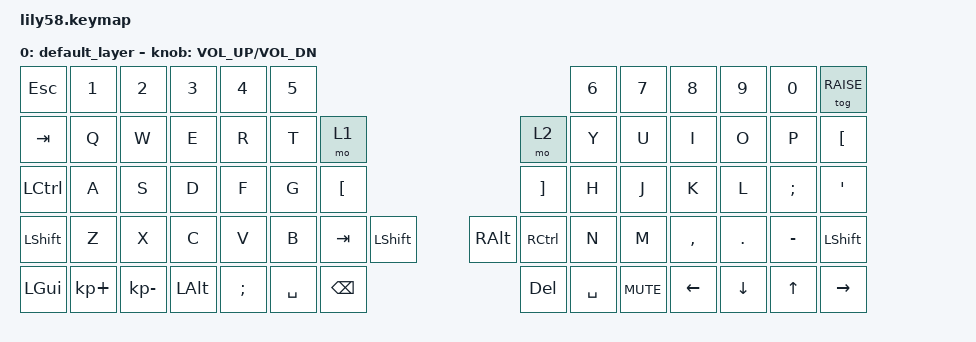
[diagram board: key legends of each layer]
/*
 * Copyright (c) 2020 The ZMK Contributors
 *
 * SPDX-License-Identifier: MIT
 */

#include <behaviors.dtsi>
#include <dt-bindings/zmk/keys.h>
#include <dt-bindings/zmk/bt.h>
#include <dt-bindings/zmk/ext_power.h> 

#define DEFAULT 0
#define NAVI    1
#define RAISE   2
{
//row 1: 7
//row 2: 7
//row 3:7
//row 4: 7
//row 5: 7


	keymap {
		compatible = "zmk,keymap";

		default_layer {
// ----------------------------------------------------------------------------------------------------------------------------------
// |  ESC  |  1  |  2  |  3   |  4   |  5   | 		                	          |  6   |  7    |  8    |  9   |   0   | TOG 2 |
// |  TAB  |  Q  |  W  |  E   |  R   |  T   | MO1 |          			  | MO2   |  Y   |  U    |  I    |  O   |   P   |   "Å"   |
// |  CTRL |  A  |  S  |  D   |  F   |  G   |  "["  |                	  |  "]"  |  H   |  J    |  K    |  L   |   "Æ"   |   "Ø"   |
// | SHIFT |  Z  |  X  |  C   |  V   |  B   | TAP | SHIFT |      		| ALT | CTRL  |  N   |  M    |  ","    |  .   |   -   | SHIFT |
// | GUI   | "+"  | "-"   | ALT  | | ";"  |      | SPACE | BSPC  |	    | DEL | SPACE | |MUTE|   	 |  LEFT | DOWN |  UP   | RIGHT |									
			bindings = <
&kp ESC   &kp N1 &kp N2 &kp N3   &kp N4   &kp N5               		   			  		   	   &kp N6 &kp N7   &kp N8    &kp N9  &kp N0    &tog RAISE
&kp TAB   &kp Q  &kp W  &kp E    &kp R    &kp T  &mo 1      				   		 &mo 2     &kp Y  &kp U    &kp I     &kp O   &kp P     &kp LBKT
&kp LCTRL &kp A  &kp S  &kp D    &kp F    &kp G  &kp LBKT      				   		 &kp RBKT  &kp H  &kp J    &kp K     &kp L   &kp SEMI  &kp SQT
&kp LSHFT &kp Z  &kp X  &kp C    &kp V    &kp B  &kp TAB &kp LSHFT  		&kp RALT &kp RCTRL  &kp N  &kp M    &kp COMMA &kp DOT &kp MINUS &kp LSHFT
&kp LGUI  &kp KP_PLUS &kp KP_MINUS  &kp LALT &kp SEMI &kp SPACE  &kp BSPC		&kp DEL	 &kp SPACE	&kp K_MUTE		&kp LEFT  &kp DOWN  &kp UP &kp RIGHT
			>;

			sensor-bindings = <&inc_dec_kp C_VOL_UP C_VOL_DN>;
		};

		lower_layer {
// ----------------------------------------------------------------------------------------------------------------------------------	
// | BTCLR | BT1 | BT2 | BT3  | BT4  |  BT5 | 		                	           |      |       |       |      |       |       |
// |   F1  | F2  | F3  | F4   | F5   |  F6  |     |          			   |       |  F7  |  F8   |   F9  | F10  |  F11  |  F12  |
// |   '   |  !  |  @  |  #   |  $   |   %  |     |                	 	   |       |   ^  |   &   |   *   |  (   |   )   |   ~   |
// |       |     |     |      |      |      |     |       |      	|      |       |      |   _   |    +  |  {   |   }   |  "|"  |
// | 	   |     |     |      | |     |     |     |       |	  		|      |       | |    |    	  |       |      |       |       |		
&bt BT_CLR &bt BT_SEL 0  &bt BT_SEL 1 &bt BT_SEL 2  &bt BT_SEL 3 &bt BT_SEL 4                			&trans    &trans   &trans   &trans  &trans   &trans  
&kp F1     &kp F2   &kp F3 &kp F4  &kp F5     &kp F6    &trans          				   		 &trans     &kp F7    &kp F8   &kp F9 &kp F10 &kp F11    &kp F12  
&kp GRAVE  &kp N1 &kp AT &kp HASH &kp DOLLAR &kp PRCNT &trans         				   		 &trans     &kp AMPS  &kp KP_MULTIPLY  &kp LPAR &kp RPAR &kp TILDE &kp CARET
&trans     &trans   &trans &trans   &trans      &trans   &trans &trans    			&trans   &trans     &trans    &kp MINUS &kp KP_PLUS &kp LBRC &kp RBRC &kp PIPE 
&trans     &trans   &trans &trans   &trans     	&trans   &trans &trans	 			&trans   &trans		 &trans   			&trans &trans   &trans   &trans 
			>;

			sensor-bindings = <&inc_dec_kp C_VOL_UP C_VOL_DN>;
		};

		raise_layer {
// ----------------------------------------------------------------------------------------------------------------------------------
// | ESC   |  1   |  2 |  3   |  4   |   5  | 		                	       |  6   |   7   |   8   |   9  |   0   | TOG 2 |
// | TAP   |  Q  |  W  |  E   |  R   |      |     |          			   |       | VOL_UP   |       |       |  UP  |       |       |
// | CTRL  |  A  |  S  |  D   |  F   |      |     |                	 	   |       | VOL_DN   |       |  LEFT | DOWN | RIGHT |       |
// | SHIFT |  Z  |  X  |  C   |  V   |  B  | TAP | SHIFT |      	|      |       |          |       |       |      |       |       |
// | GUI   |  +  | -   | ALT  | | ";" |      | SPACE | BSPC|  		|      |       | |   |   	 |       |     |      |       |	

&kp ESC   &kp N1 &kp N2 &kp N3   &kp N4   &kp N5               		   			  		   	            &kp N6       &kp N7   &kp N8   &kp N9   &kp N0 		 &tog RAISE  
&kp TAP   &kp Q  &kp W &kp E    &kp R    &kp T  &trans        				   		         &none      &kp C_VOL_UP &trans   &trans   &kp UP   &trans       &trans
&kp LCTRL &kp A  &kp S  &kp D    &kp F    &kp B  &kp LBKT      				   		         &kp RBKT   &kp C_VOL_DN &trans   &kp LEFT &kp DOWN &kp RIGHT 	 &trans 
&kp LSHFT &trans &trans &trans   &trans   &trans   &kp TAB &kp LSHFT    	        &trans   &trans     &trans       &trans   &trans   &trans   &trans       &trans  
&kp LGUI  &kp KP_PLUS &kp KP_MINUS  &kp LALT &kp SEMI &kp SPACE  &kp BSPC       	    &trans   &trans       &trans     &trans   &trans   &trans    &trans  
			>;

			sensor-bindings = <&inc_dec_kp C_VOL_UP C_VOL_DN>;
		};
	};
};
